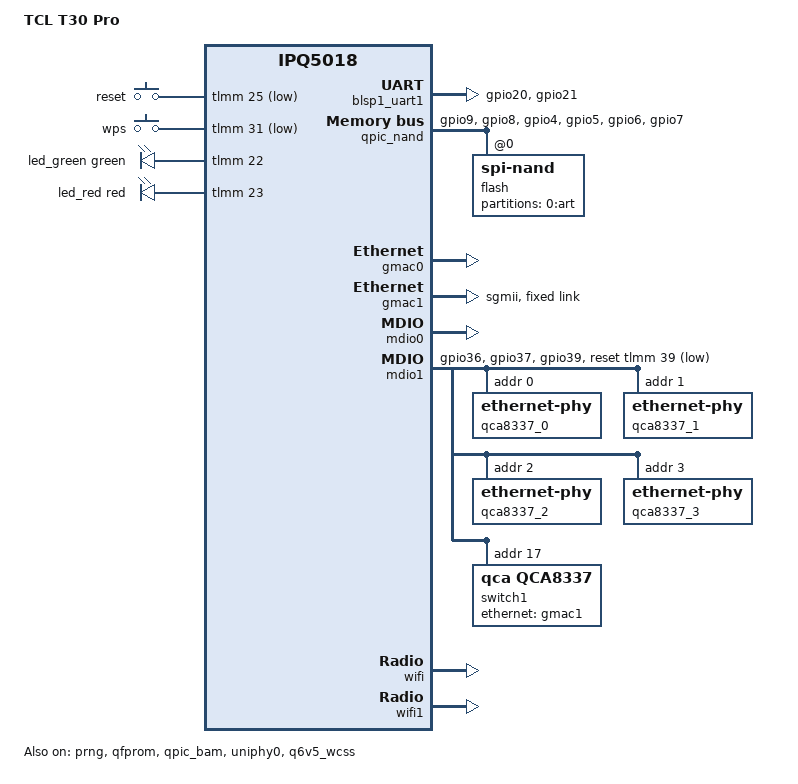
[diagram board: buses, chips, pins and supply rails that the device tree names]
// SPDX-License-Identifier: GPL-2.0-or-later OR MIT

/dts-v1/;

#include "ipq5018.dtsi"
#include "ipq5018-ess.dtsi"
#include "ipq5018-qcn6122.dtsi"
#include "ipq5018-nss.dtsi"

#include <dt-bindings/gpio/gpio.h>
#include <dt-bindings/input/input.h>
#include <dt-bindings/leds/common.h>

/*
 * TCL T30 Pro, AP-MP02.1: WAN is switch port 4 of the QCA8337 on GMAC1
 * (SGMII), LAN1-LAN3 are switch ports 1-3. The stock device tree also has
 * the IPQ5018 GE PHY (MDIO address 7) on GMAC0, but what it is wired to is
 * not known: it is kept and declared as lan4 (not confirmed on hardware
 * whether a panel jack is connected to it).
 */

/ {
	model = "TCL T30 Pro";
	compatible = "tcl,t30-pro", "qcom,ipq5018";

	reserved-memory {
		q6_region_qcn6122_1: q6-region-qcn6122-1@4d200000 {
			reg = <0x0 0x4d200000 0x0 0xd00000>;
			no-map;
		};

		m3_dump_qcn6122_1: m3-dump-qcn6122-1@4df00000 {
			reg = <0x0 0x4df00000 0x0 0x100000>;
			no-map;
		};
	};

	aliases {
		serial0 = &blsp1_uart1;
		/*
		 * No label-mac-device: this board has no MAC address in the
		 * device tree at all. The stock MAC is the ASCII text at the
		 * start of the factory partition; board.d/02_network reads it
		 * and publishes the addresses (label MAC = WAN).
		 */
		led-boot = &led_green;
		led-failsafe = &led_red;
		led-running = &led_green;
		led-upgrade = &led_red;
	};

	chosen {
		bootargs-append = " root=/dev/ubiblock0_1 swiotlb=1 coherent_pool=512K";
		stdout-path = "serial0:115200n8";
	};

	keys {
		compatible = "gpio-keys";
		pinctrl-0 = <&button_pins>;
		pinctrl-names = "default";

		button-reset {
			label = "reset";
			gpios = <&tlmm 25 GPIO_ACTIVE_LOW>;
			linux,code = <KEY_RESTART>;
		};

		button-wps {
			label = "wps";
			gpios = <&tlmm 31 GPIO_ACTIVE_LOW>;
			linux,code = <KEY_WPS_BUTTON>;
		};
	};

	leds {
		compatible = "gpio-leds";
		pinctrl-0 = <&led_pins>;
		pinctrl-names = "default";

		led_green: led-green {
			color = <LED_COLOR_ID_GREEN>;
			function = LED_FUNCTION_POWER;
			gpios = <&tlmm 22 GPIO_ACTIVE_HIGH>;
		};

		led_red: led-red {
			color = <LED_COLOR_ID_RED>;
			function = LED_FUNCTION_STATUS;
			gpios = <&tlmm 23 GPIO_ACTIVE_HIGH>;
		};
	};
};

/* the stock TZ takes 4 MiB here (upstream reserves 2 MiB) */
&tz_region {
	reg = <0x0 0x4ac00000 0x0 0x400000>;
};

&sleep_clk {
	clock-frequency = <32000>;
};

&xo_board_clk {
	clock-div = <4>;
	clock-mult = <1>;
};

&blsp1_uart1 {
	status = "okay";

	pinctrl-0 = <&serial_0_pins>;
	pinctrl-names = "default";
};

&prng {
	status = "okay";
};

&qfprom {
	status = "okay";
};

&qpic_bam {
	status = "okay";
};

&qpic_nand {
	pinctrl-0 = <&qpic_pins>;
	pinctrl-names = "default";
	status = "okay";

	flash@0 {
		compatible = "spi-nand";
		reg = <0>;
		nand-ecc-engine = <&qpic_nand>;
		nand-bus-width = <8>;

		partitions {
			compatible = "qcom,smem-part";

			/*
			 * The MAC addresses are not in ART on this board: the
			 * stock firmware keeps them as ASCII text at the start
			 * of the factory partition (read by 02_network), so ART
			 * only carries the calibration data.
			 */
			partition-0-art {
				label = "0:art";
				read-only;
			};
		};
	};
};

&uniphy0 {
	status = "okay";

	assigned-clocks = <&uniphy0 UNIPHY_CLK_REF>;
	assigned-clock-rates = <UNIPHY_REFCLK_25MHZ>;
};

/* MAC0 -> IPQ5018 GE PHY (stock DTB: address 7), declared as lan4 */
&gmac0 {
	status = "okay";

	label = "lan4";
};

/* MAC1 ---SGMII---> QCA8337 port 6; no MAC from ART on this board */
&gmac1 {
	status = "okay";

	phy-mode = "sgmii";

	fixed-link {
		speed = <1000>;
		full-duplex;
	};
};

&mdio0 {
	status = "okay";
};

&mdio1 {
	status = "okay";

	pinctrl-0 = <&mdio1_pins>, <&switch_reset_pins>;
	pinctrl-names = "default";
	reset-gpios = <&tlmm 39 GPIO_ACTIVE_LOW>;
	reset-delay-us = <10000>;
	reset-post-delay-us = <10000>;

	qca8337_0: ethernet-phy@0 {
		reg = <0>;
	};

	qca8337_1: ethernet-phy@1 {
		reg = <1>;
	};

	qca8337_2: ethernet-phy@2 {
		reg = <2>;
	};

	qca8337_3: ethernet-phy@3 {
		reg = <3>;
	};

	switch1: ethernet-switch@17 {
		compatible = "qca,qca8337";
		reg = <17>;
		#address-cells = <1>;
		#size-cells = <0>;

		ethernet-ports {
			#address-cells = <1>;
			#size-cells = <0>;

			ethernet-port@1 {
				reg = <1>;
				label = "lan1";
				phy-handle = <&qca8337_0>;
			};

			ethernet-port@2 {
				reg = <2>;
				label = "lan2";
				phy-handle = <&qca8337_1>;
			};

			ethernet-port@3 {
				reg = <3>;
				label = "lan3";
				phy-handle = <&qca8337_2>;
			};

			ethernet-port@4 {
				reg = <4>;
				label = "wan";
				phy-handle = <&qca8337_3>;
			};

			/*
			 * CPU port 6 over SGMII: the QCA8337 has one SGMII lane
			 * that can serve MAC0 or MAC6, and our U-Boot runs the
			 * LAN of this board through MAC6.
			 */
			ethernet-port@6 {
				reg = <6>;
				phy-mode = "sgmii";
				ethernet = <&gmac1>;
				qca,sgmii-enable-pll;

				fixed-link {
					speed = <1000>;
					full-duplex;
				};
			};
		};
	};
};

&tlmm {
	button_pins: button-state {
		button-pins {
			pins = "gpio25", "gpio31";
			function = "gpio";
			drive-strength = <8>;
			bias-pull-up;
		};
	};

	led_pins: led-state {
		pins = "gpio22", "gpio23";
		function = "gpio";
		drive-strength = <8>;
		bias-disable;
	};

	mdio1_pins: mdio-state {
		mdc-pins {
			pins = "gpio36";
			function = "mdc";
			drive-strength = <8>;
			bias-pull-up;
		};

		mdio-pins {
			pins = "gpio37";
			function = "mdio";
			drive-strength = <8>;
			bias-pull-up;
		};
	};

	switch_reset_pins: switch-reset-state {
		pins = "gpio39";
		function = "gpio";
		drive-strength = <8>;
		bias-pull-down;
	};

	qpic_pins: qpic-state {
		clock-pins {
			pins = "gpio9";
			function = "qspi_clk";
			drive-strength = <8>;
			bias-disable;
		};

		cs-pins {
			pins = "gpio8";
			function = "qspi_cs";
			drive-strength = <8>;
			bias-disable;
		};

		data-pins {
			pins = "gpio4", "gpio5", "gpio6", "gpio7";
			function = "qspi_data";
			drive-strength = <8>;
			bias-disable;
		};
	};

	serial_0_pins: uart0-state {
		pins = "gpio20", "gpio21";
		function = "blsp0_uart0";
		drive-strength = <8>;
		bias-disable;
	};

};

/*
 * QCN6122 on PCIe0 as user PD 2, reset on GPIO15 (as on the Cudy P5). The
 * stock boot-args put the radio on user PD 3 (<0x1 4 3 15 0 0>); following
 * the Cudy P5 is not confirmed on hardware yet.
 */
&q6v5_wcss {
	boot-args = <0x1 4 2 15 0 0>;
	status = "okay";
};

/* 256 MiB of RAM: low-memory firmware mode */
&wifi {
	status = "okay";

	qcom,rproc = <&q6v5_wcss>;
	qcom,ath11k-calibration-variant = "TCL-T30-Pro";
	qcom,ath11k-fw-memory-mode = <2>;

	ieee80211-freq-limit = <2400000 2483000>;
};

&wifi1 {
	status = "okay";

	qcom,rproc = <&q6v5_wcss>;
	qcom,ath11k-calibration-variant = "TCL-T30-Pro";
	qcom,ath11k-fw-memory-mode = <2>;

	ieee80211-freq-limit = <5150000 5850000>;

	memory-region = <&q6_region_qcn6122_1>, <&q6_region_ipq5018>, <&m3_dump_qcn6122_1>;
	memory-region-names = "q6-region", "m3-region", "m3-dump";
};

/* 256 MiB of RAM: NSS heap 8 MiB, as in the stock reserved-memory */
&nss_region {
	reg = <0x0 0x40000000 0x0 0x800000>;
};
